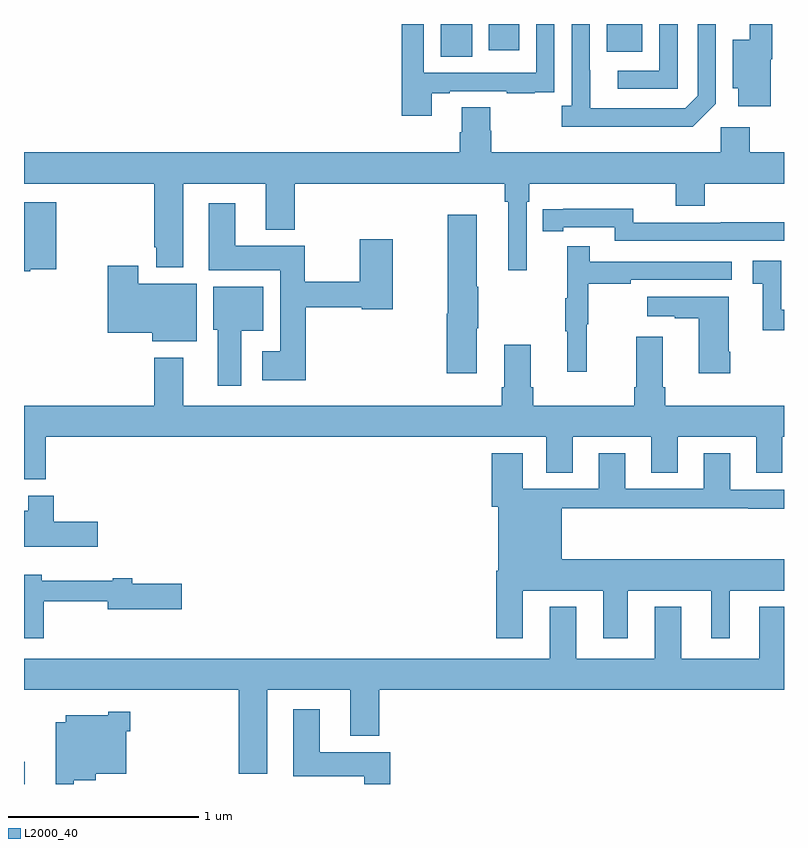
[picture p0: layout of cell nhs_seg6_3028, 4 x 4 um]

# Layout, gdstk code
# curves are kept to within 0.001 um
import gdstk
lib = gdstk.Library(unit=1e-6, precision=1e-09)
def R(c, l, rs):  # rectangles x0, y0, x1, y1
    for r in rs: c.add(gdstk.rectangle(r[:2], r[2:], *l))
def P(c, l, *ps):  # polygons
    for p in ps: c.add(gdstk.Polygon(p, *l))
L2000_40 = (2000, 40)

nhs_seg6_3028 = lib.new_cell('nhs_seg6_3028')
R(nhs_seg6_3028, L2000_40, [(289,953.5,289.003,953.617), (291.194,957.328,291.358,957.5), (292.067,957.353,292.255,957.5), (291.446,957.363,291.607,957.5)])
P(nhs_seg6_3028, L2000_40, [(292.641,957.081),(292.641,957.5),(292.545,957.5),(292.545,957.123),(292.479,957.057),(291.979,957.057),(291.978,957.5),(291.882,957.5),(291.882,957.07),(291.831,957.07),(291.831,956.96),(292.52,956.96)],
  [(292.44,957.5),(292.344,957.5),(292.344,957.255),(292.125,957.255),(292.125,957.159),(292.44,957.159)],
  [(292.931,957.314),(292.937,957.314),(292.937,957.5),(292.82,957.5),(292.82,957.418),(292.73,957.418),(292.73,957.161),(292.76,957.161),(292.76,957.066),(292.931,957.066)],
  [(291.145,957.135),(291.241,957.135),(291.241,957.147),(291.541,957.147),(291.541,957.135),(291.689,957.135),(291.689,957.141),(291.791,957.141),(291.791,957.25),(291.792,957.25),(291.792,957.5),(291.696,957.5),(291.696,957.243),(291.105,957.243),(291.105,957.5),(290.989,957.5),(290.989,957.018),(291.145,957.018)],
  [(291.645,956.564),(291.659,956.564),(291.659,956.66),(292.43,956.66),(292.43,956.543),(292.583,956.543),(292.583,956.66),(293,956.66),(293,956.824),(292.82,956.824),(292.82,956.956),(292.668,956.956),(292.668,956.824),(291.458,956.824),(291.458,956.937),(291.453,956.937),(291.453,957.062),(291.305,957.062),(291.305,956.93),(291.293,956.93),(291.293,956.824),(289,956.824),(289,956.66),(289.685,956.66),(289.685,956.326),(289.697,956.326),(289.697,956.219),(289.837,956.219),(289.837,956.66),(290.273,956.66),(290.273,956.417),(290.426,956.417),(290.426,956.66),(291.529,956.66),(291.529,956.564),(291.548,956.564),(291.548,956.205),(291.645,956.205)],
  [(289.032,956.21),(289.169,956.21),(289.169,956.563),(289,956.563),(289,956.198),(289.032,956.198)],
  [(290.483,956.008),(290.778,956.008),(290.778,956),(290.94,956),(290.94,956.368),(290.767,956.368),(290.767,956.144),(290.478,956.144),(290.478,956.332),(290.113,956.332),(290.113,956.557),(289.973,956.557),(289.973,956.204),(290.348,956.204),(290.348,955.777),(290.253,955.777),(290.253,955.625),(290.483,955.625)],
  [(293,956.456),(292.666,956.456),(292.666,956.454),(292.206,956.454),(292.206,956.527),(291.838,956.527),(291.838,956.526),(291.73,956.526),(291.73,956.41),(291.838,956.41),(291.838,956.43),(292.11,956.43),(292.11,956.358),(293,956.358)],
  [(291.382,955.9),(291.39,955.9),(291.39,956.117),(291.382,956.117),(291.382,956.497),(291.229,956.497),(291.229,955.974),(291.224,955.974),(291.224,955.662),(291.382,955.662)],
  [(291.962,955.92),(291.97,955.92),(291.97,956.134),(292.193,956.134),(292.193,956.154),(292.726,956.154),(292.726,956.25),(291.977,956.25),(291.977,956.329),(291.86,956.329),(291.86,956.057),(291.849,956.057),(291.849,955.883),(291.86,955.883),(291.86,955.671),(291.962,955.671)],
  [(293,955.995),(292.986,955.995),(292.986,956.254),(292.836,956.254),(292.836,956.133),(292.889,956.133),(292.889,955.887),(293,955.887)],
  [(289.909,956.134),(289.6,956.134),(289.6,956.227),(289.442,956.227),(289.442,955.874),(289.676,955.874),(289.676,955.829),(289.909,955.829)],
  [(290.143,955.886),(290.26,955.886),(290.26,956.116),(289.997,956.116),(289.997,955.89),(290.021,955.89),(290.021,955.596),(290.143,955.596)],
  [(292.716,955.774),(292.708,955.774),(292.708,956.065),(292.281,956.065),(292.281,955.961),(292.424,955.961),(292.424,955.951),(292.55,955.951),(292.55,955.662),(292.716,955.662)],
  [(289.115,955.328),(291.749,955.328),(291.749,955.138),(291.889,955.138),(291.889,955.328),(292.301,955.328),(292.301,955.138),(292.441,955.138),(292.441,955.328),(292.853,955.328),(292.853,955.138),(292.992,955.138),(292.992,955.328),(293,955.328),(293,955.492),(292.376,955.492),(292.376,955.588),(292.363,955.588),(292.363,955.855),(292.223,955.855),(292.223,955.588),(292.211,955.588),(292.211,955.492),(291.68,955.492),(291.68,955.588),(291.667,955.588),(291.667,955.813),(291.527,955.813),(291.527,955.588),(291.515,955.588),(291.515,955.492),(289.837,955.492),(289.837,955.744),(289.685,955.744),(289.685,955.492),(289,955.492),(289,955.103),(289.115,955.103)],
  [(291.625,954.518),(292.049,954.518),(292.049,954.267),(292.177,954.267),(292.177,954.518),(292.616,954.518),(292.616,954.267),(292.714,954.267),(292.714,954.518),(293,954.518),(293,954.682),(291.829,954.682),(291.829,954.952),(292.813,954.952),(292.813,954.95),(293,954.95),(293,955.05),(292.717,955.05),(292.717,955.24),(292.577,955.24),(292.577,955.053),(292.165,955.053),(292.165,955.24),(292.025,955.24),(292.025,955.053),(291.625,955.053),(291.625,955.24),(291.461,955.24),(291.461,954.96),(291.497,954.96),(291.497,954.622),(291.485,954.622),(291.485,954.267),(291.625,954.267)],
  [(289.387,954.879),(289.157,954.879),(289.157,955.018),(289.022,955.018),(289.022,954.937),(289,954.937),(289,954.749),(289.387,954.749)],
  [(289.105,954.462),(289.442,954.462),(289.442,954.419),(289.831,954.419),(289.831,954.554),(289.57,954.554),(289.57,954.583),(289.466,954.583),(289.466,954.571),(289.093,954.571),(289.093,954.601),(289,954.601),(289,954.267),(289.105,954.267)],
  [(289,953.996),(290.129,953.996),(290.129,953.555),(290.281,953.555),(290.281,953.996),(290.717,953.996),(290.717,953.753),(290.87,953.753),(290.87,953.996),(293,953.996),(293,954.433),(292.871,954.433),(292.871,954.16),(292.459,954.16),(292.459,954.433),(292.319,954.433),(292.319,954.16),(291.907,954.16),(291.907,954.433),(291.767,954.433),(291.767,954.16),(289,954.16)],
  [(290.927,953.668),(290.557,953.668),(290.557,953.893),(290.417,953.893),(290.417,953.54),(290.792,953.54),(290.792,953.5),(290.927,953.5)],
  [(289.263,953.519),(289.378,953.519),(289.378,953.555),(289.537,953.555),(289.537,953.777),(289.559,953.777),(289.559,953.881),(289.443,953.881),(289.443,953.863),(289.22,953.863),(289.22,953.824),(289.166,953.824),(289.166,953.5),(289.263,953.5)])

lib.write_gds('nhs_seg6_3028.gds')
